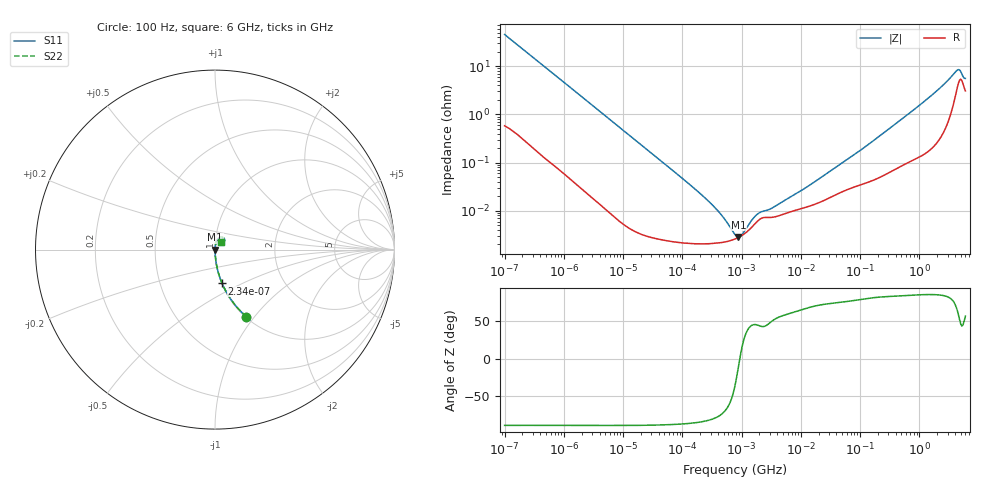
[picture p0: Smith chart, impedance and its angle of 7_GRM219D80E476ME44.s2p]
!Murata Part Number: GRM219D80E476ME44
!These Parameters are Measured in Series Mode Connection
!  o--ll--o
!Port1  Port2
!  o------o
!Operation Temp=25[C], DC Bias Voltage=0[V]
!Freq. Start=100[Hz] Stop=6000000000[Hz] 401[Steps]
# Hz S RI R 50
!Freq.(Hz) S11(Real) S11(Imag) S21(Real) S21(Imag) S12(Real) S12(Imag) S22(Real) S22(Imag)
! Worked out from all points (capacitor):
!   401 points, 100 Hz to 6 GHz, reference 50 ohm
!   read as one part in series: C = 34.8 uF near 109 Hz
!   lowest |Z| = 2.86 mohm at 886 kHz (marker M1)
!   series resonance near 935 kHz, so ESL is about 830 pH
!   S11 on the Smith chart (normalised r, x): 100 Hz: 1.01, -0.91; 234 Hz: 1.01, -0.39; 6 GHz: 1.06, +0.09
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100  0.1752 -0.3738  0.8248 0.3738  0.8248 0.3738  0.1752 -0.3738
156  0.0821 -0.2677  0.9179 0.2677  0.9179 0.2677  0.0821 -0.2677
234  0.0395 -0.1883  0.9605 0.1883  0.9605 0.1883  0.0395 -0.1883
573  0.0075 -0.0802  0.9925 0.0802  0.9925 0.0802  0.0075 -0.0802
2008  0.000825 -0.0233  0.9992 0.0233  0.9992 0.0233  0.000825 -0.0233
40335  2.71e-05 -0.00118  1 0.00118  1 0.00118  2.71e-05 -0.00118
169018  2.08e-05 -0.000273  1 0.000273  1 0.000273  2.08e-05 -0.000273
395726  2.14e-05 -9.87e-05  1 9.87e-05  1 9.87e-05  2.14e-05 -9.87e-05
432798  2.17e-05 -8.63e-05  1 8.63e-05  1 8.63e-05  2.17e-05 -8.63e-05
774597  2.6e-05 -1.9e-05  1 1.9e-05  1 1.9e-05  2.6e-05 -1.9e-05
885955  2.81e-05 -5.4e-06  1 5.4e-06  1 5.4e-06  2.81e-05 -5.4e-06
2268635  7.15e-05 6.61e-05  0.9999 -6.61e-05  0.9999 -6.61e-05  7.15e-05 6.61e-05
2837864  7.27e-05 7.57e-05  0.9999 -7.57e-05  0.9999 -7.57e-05  7.27e-05 7.57e-05
1.555665e7  0.000131 0.000345  0.9999 -0.000345  0.9999 -0.000345  0.000131 0.000345
8.918374e7  0.000329 0.00157  0.9997 -0.00157  0.9997 -0.00157  0.000329 0.00157
3.124326e8  0.000649 0.00505  0.9994 -0.00505  0.9994 -0.00505  0.000649 0.00505
1.637704e9  0.00262 0.0251  0.9974 -0.0251  0.9974 -0.0251  0.00262 0.0251
2.562649e9  0.00587 0.0407  0.9941 -0.0407  0.9941 -0.0407  0.00587 0.0407
4.193612e9  0.0327 0.0695  0.9673 -0.0695  0.9673 -0.0695  0.0327 0.0695
4.586474e9  0.0475 0.0659  0.9525 -0.0659  0.9525 -0.0659  0.0475 0.0659
4.796499e9  0.053 0.0589  0.947 -0.0589  0.947 -0.0589  0.053 0.0589
6e9  0.0318 0.0437  0.9682 -0.0437  0.9682 -0.0437  0.0318 0.0437
